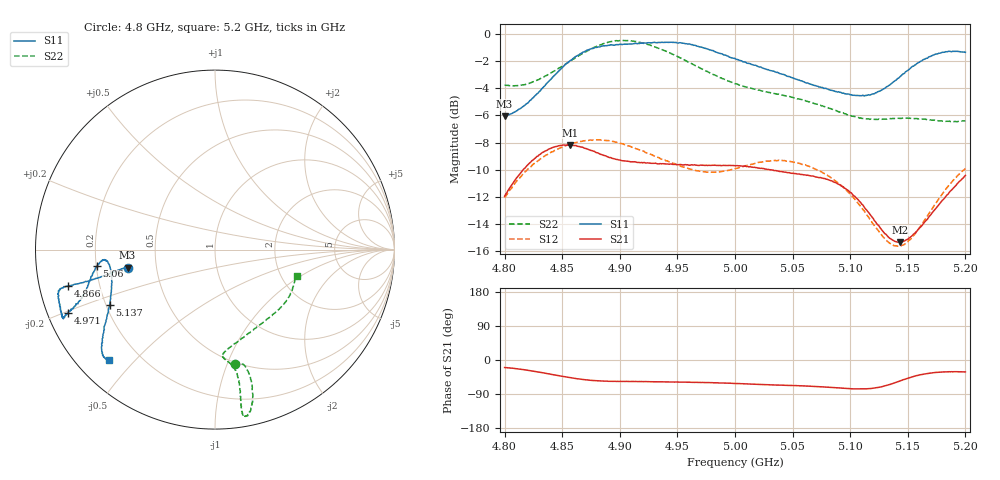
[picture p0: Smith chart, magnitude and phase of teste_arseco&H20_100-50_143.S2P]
! Network Analyzer HP8722D
! Hewlett-Packard
! Data name: Linha & Wilkinson
! Saver's name: Rodrigo Anjos
! Comments: Teste da utilização de aquisição
! continua pelo VNA HP8722D
! Time and date: 6/5/2025 13:45
!  Frequency  S11  S21  S12  S22
# HZ  S  MA R 50
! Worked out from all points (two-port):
!   401 points, 4.8 GHz to 5.2 GHz, reference 50 ohm
!   highest |S21| = -8.17 dB at 4.857 GHz (marker M1); lowest = -15.3 dB at 5.143 GHz (marker M2)
!   |S21| within 3 dB of the highest: 4.806 GHz to 5.092 GHz (286.3 MHz wide, 5.79 % of centre); 5.191438 GHz to end of sweep
!   lowest |S11| = -6.1 dB at 4.8 GHz (marker M3), VSWR 2.98, Z = 16.9 - j4.53 ohm
!   |S11| at or under -10 dB: nowhere
!   |S22| runs from -6.5 to -0.5 dB; largest |S21 - S12| = 0.62
!   S11 on the Smith chart (normalised r, x): 4.8 GHz: 0.34, -0.09; 4.866 GHz: 0.09, -0.12; 4.971 GHz: 0.06, -0.21; 5.06 GHz: 0.20, -0.07; 5.137 GHz: 0.22, -0.24; 5.2 GHz: 0.09, -0.42
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4.8e9  0.4976 -168.3  0.2531 -19.8  0.2499 -141.1  0.6479 -80.3
4.83e9  0.6124 -167.0  0.3591 -32.1  0.3436 -145.6  0.6798 -75.3
4.857e9  0.7968 -166.1  0.3903 -46.6  0.3925 -150.6  0.7941 -74.8
4.866e9  0.8452 -166.1  0.3837 -50.5  0.402 -152.1  0.8378 -75.4
4.867e9  0.8495 -166.1  0.3832 -51.1  0.4023 -152.2  0.8435 -75.6
4.899e9  0.9118 -163.1  0.3438 -56.6  0.3973 -156.8  0.9414 -79.2
4.934e9  0.9289 -156.7  0.3326 -57.7  0.3502 -155.9  0.8828 -80.5
4.949e9  0.9287 -155.5  0.3312 -58.0  0.331 -153.2  0.8299 -80.2
4.971e9  0.8928 -156.7  0.3288 -59.4  0.3117 -146.6  0.7436 -79.6
5e9  0.8108 -159.2  0.3272 -62.0  0.3195 -137.3  0.6553 -81.3
5.036e9  0.721 -165.8  0.3139 -66.1  0.3415 -134.6  0.6006 -85.7
5.06e9  0.665 -172.0  0.3029 -68.3  0.3294 -136.4  0.5686 -84.3
5.067e9  0.6502 -173.2  0.3002 -69.3  0.3221 -137.0  0.5581 -82.6
5.082e9  0.6217 -174.8  0.2899 -72.1  0.2987 -138.5  0.5321 -77.1
5.101e9  0.5965 -172.1  0.2602 -75.8  0.2546 -138.9  0.4988 -66.6
5.116e9  0.5965 -165.6  0.2202 -76.0  0.2119 -135.6  0.4862 -55.6
5.134e9  0.6472 -154.3  0.1776 -65.1  0.1703 -120.6  0.4874 -43.3
5.137e9  0.6619 -152.4  0.1744 -62.1  0.1676 -116.7  0.4886 -41.4
5.143e9  0.6936 -149.3  0.1716 -55.6  0.1658 -108.8  0.4892 -38.2
5.154e9  0.7584 -144.6  0.1814 -44.3  0.1795 -94.9  0.4888 -32.4
5.172e9  0.8342 -139.3  0.222 -33.7  0.2308 -81.3  0.481 -24.6
5.2e9  0.8542 -133.9  0.3015 -31.5  0.3199 -77.1  0.4785 -17.7
